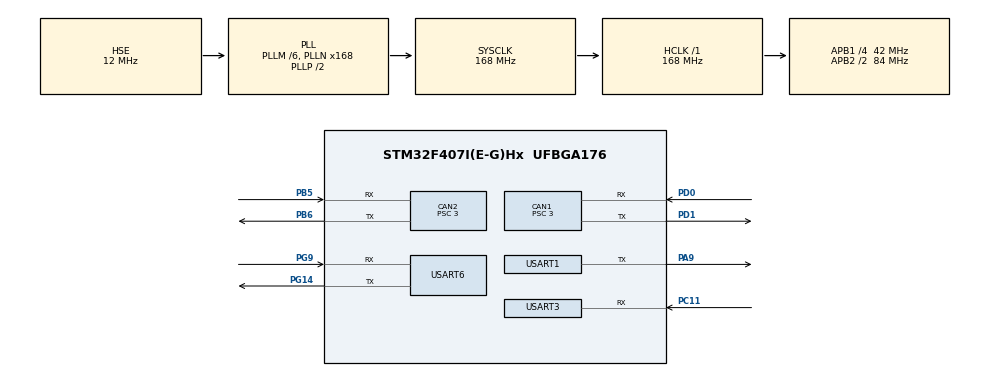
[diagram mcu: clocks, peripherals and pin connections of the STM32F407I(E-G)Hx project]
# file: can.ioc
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CAN1.BS1=CAN_BS1_10TQ
CAN1.BS2=CAN_BS2_3TQ
CAN1.CalculateTimeQuantum=71.42857142857143
CAN1.Prescaler=3
CAN2.BS1=CAN_BS1_10TQ
CAN2.BS2=CAN_BS2_3TQ
CAN2.CalculateTimeQuantum=71.42857142857143
CAN2.Prescaler=3
FREERTOS.Tasks01=defaultTask,24,128,StartDefaultTask,Default,NULL,Dynamic,NULL,NULL;motor_task,27,128,motorstart_task,As external,NULL,Dynamic,NULL,NULL
Mcu.Family=STM32F4
Mcu.Name=STM32F407I(E-G)Hx
Mcu.Package=UFBGA176
PA9.Mode=Asynchronous
PA9.Signal=USART1_TX
PC11.Mode=Asynchronous
PC11.Signal=USART3_RX
NVIC.CAN1_RX0_IRQn=true\:5\:0\:false\:false\:true\:true\:true\:true\:true
NVIC.CAN1_TX_IRQn=true\:5\:0\:false\:false\:true\:true\:true\:true\:true
NVIC.CAN2_RX0_IRQn=true\:5\:0\:false\:false\:true\:true\:true\:true\:true
NVIC.CAN2_TX_IRQn=true\:5\:0\:false\:false\:true\:true\:true\:true\:true
NVIC.PriorityGroup=NVIC_PRIORITYGROUP_4
NVIC.TIM3_IRQn=true\:0\:0\:false\:false\:true\:false\:false\:true\:true
NVIC.TimeBase=TIM3_IRQn
NVIC.TimeBaseIP=TIM3
NVIC.USART6_IRQn=true\:5\:0\:false\:false\:true\:true\:true\:true\:true
NVIC.USART3_IRQn=true\:6\:0\:false\:false\:false\:true\:true
PA13.Mode=Serial_Wire
PA13.Signal=SYS_JTMS-SWDIO
PA14.Mode=Serial_Wire
PA14.Signal=SYS_JTCK-SWCLK
PB5.Mode=Slave
PB5.Signal=CAN2_RX
PB6.Mode=Slave
PB6.Signal=CAN2_TX
PD0.Mode=Master
PD0.Signal=CAN1_RX
PD1.Mode=Master
PD1.Signal=CAN1_TX
PG14.Mode=Asynchronous
PG14.Signal=USART6_TX
PG9.Mode=Asynchronous
PG9.Signal=USART6_RX
PH0-OSC_IN.Mode=HSE-External-Oscillator
PH0-OSC_IN.Signal=RCC_OSC_IN
PH1-OSC_OUT.Mode=HSE-External-Oscillator
PH1-OSC_OUT.Signal=RCC_OSC_OUT
ProjectManager.HeapSize=0x200
ProjectManager.StackSize=0x400
ProjectManager.TargetToolchain=MDK-ARM V5
RCC.48MHZClocksFreq_Value=84000000
RCC.AHBFreq_Value=168000000
RCC.APB1CLKDivider=RCC_HCLK_DIV4
RCC.APB1Freq_Value=42000000
RCC.APB1TimFreq_Value=84000000
RCC.APB2CLKDivider=RCC_HCLK_DIV2
RCC.APB2Freq_Value=84000000
RCC.APB2TimFreq_Value=168000000
RCC.CortexFreq_Value=168000000
RCC.HCLKFreq_Value=168000000
RCC.HSE_VALUE=12000000
RCC.HSI_VALUE=16000000
RCC.LSE_VALUE=32768
RCC.PLLM=6
RCC.PLLN=168
RCC.PLLSourceVirtual=RCC_PLLSOURCE_HSE
RCC.SYSCLKFreq_VALUE=168000000
RCC.SYSCLKSource=RCC_SYSCLKSOURCE_PLLCLK
RCC.VCOOutputFreq_Value=336000000
USART6.VirtualMode=VM_ASYNC
Dma.Request0=USART3_RX
Dma.USART3_RX.0.Direction=DMA_PERIPH_TO_MEMORY
Dma.USART3_RX.0.FIFOMode=DMA_FIFOMODE_DISABLE
Dma.USART3_RX.0.Instance=DMA1_Stream1
Dma.USART3_RX.0.MemDataAlignment=DMA_MDATAALIGN_BYTE
Dma.USART3_RX.0.MemInc=DMA_MINC_ENABLE
Dma.USART3_RX.0.Mode=DMA_CIRCULAR
Dma.USART3_RX.0.PeriphDataAlignment=DMA_PDATAALIGN_BYTE
Dma.USART3_RX.0.PeriphInc=DMA_PINC_DISABLE
Dma.USART3_RX.0.Priority=DMA_PRIORITY_VERY_HIGH
USART1.BaudRate=115200
USART1.Mode=MODE_TX
USART1.VirtualMode=VM_ASYNC
USART3.BaudRate=100000
USART3.Mode=MODE_RX
USART3.Parity=PARITY_EVEN
USART3.WordLength=WORDLENGTH_9B
USART3.VirtualMode=VM_ASYNC
VP_FREERTOS_VS_CMSIS_V2.Mode=CMSIS_V2
VP_SYS_VS_tim3.Mode=TIM3
board=custom

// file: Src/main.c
/* USER CODE BEGIN Header */
/**
  ******************************************************************************
  * @file           : main.c
  * @brief          : Main program body
  ******************************************************************************
  * @attention
  *
  * <h2><center>&copy; Copyright (c) 2019 STMicroelectronics.
  * All rights reserved.</center></h2>
  *
  * This software component is licensed by ST under BSD 3-Clause license,
  * the "License"; You may not use this file except in compliance with the
  * License. You may obtain a copy of the License at:
  *                        opensource.org/licenses/BSD-3-Clause
  *
  ******************************************************************************
  */
/* USER CODE END Header */

#include "main.h"
#include "dma.h"
#include "cmsis_os.h"
#include "can.h"
#include "usart.h"
#include "gpio.h"

/* USER CODE BEGIN Includes */
#include "bsp_can.h"
/* USER CODE END Includes */

/* USER CODE BEGIN PV */
// uint32_t send_mail_box;

/* USER CODE END PV */

void SystemClock_Config(void);
void MX_FREERTOS_Init(void);

int main(void)
{

  /* MCU Configuration--------------------------------------------------------*/

  /* Reset of all peripherals, Initializes the Flash interface and the Systick. */
   HAL_Init();

  /* Configure the system clock */
  SystemClock_Config();

  /* Initialize all configured peripherals */
  MX_GPIO_Init();
  MX_DMA_Init();
  MX_CAN1_Init();
  MX_CAN2_Init();
  MX_USART6_UART_Init();
  MX_USART1_UART_Init();
  MX_USART3_UART_Init();
  /* USER CODE BEGIN 2 */
	can_filter_init();
  /* USER CODE END 2 */

  /* Call init function for freertos objects (in freertos.c) */
  MX_FREERTOS_Init();

  /* Start scheduler */
  osKernelStart();

  /* We should never get here as control is now taken by the scheduler */

  /* Infinite loop */
  while (1)
  {

  }
}

void SystemClock_Config(void)
{
  RCC_OscInitTypeDef RCC_OscInitStruct = {0};
  RCC_ClkInitTypeDef RCC_ClkInitStruct = {0};

  /** Configure the main internal regulator output voltage
  */
  __HAL_RCC_PWR_CLK_ENABLE();
  __HAL_PWR_VOLTAGESCALING_CONFIG(PWR_REGULATOR_VOLTAGE_SCALE1);
  /** Initializes the CPU, AHB and APB busses clocks
  */
  RCC_OscInitStruct.OscillatorType = RCC_OSCILLATORTYPE_HSE;
  RCC_OscInitStruct.HSEState = RCC_HSE_ON;
  RCC_OscInitStruct.PLL.PLLState = RCC_PLL_ON;
  RCC_OscInitStruct.PLL.PLLSource = RCC_PLLSOURCE_HSE;
  RCC_OscInitStruct.PLL.PLLM = 6;
  RCC_OscInitStruct.PLL.PLLN = 168;
  RCC_OscInitStruct.PLL.PLLP = RCC_PLLP_DIV2;
  RCC_OscInitStruct.PLL.PLLQ = 4;
  if (HAL_RCC_OscConfig(&RCC_OscInitStruct) != HAL_OK)
  {
    Error_Handler();
  }
  /** Initializes the CPU, AHB and APB busses clocks
  */
  RCC_ClkInitStruct.ClockType = RCC_CLOCKTYPE_HCLK|RCC_CLOCKTYPE_SYSCLK
                              |RCC_CLOCKTYPE_PCLK1|RCC_CLOCKTYPE_PCLK2;
  RCC_ClkInitStruct.SYSCLKSource = RCC_SYSCLKSOURCE_PLLCLK;
  RCC_ClkInitStruct.AHBCLKDivider = RCC_SYSCLK_DIV1;
  RCC_ClkInitStruct.APB1CLKDivider = RCC_HCLK_DIV4;
  RCC_ClkInitStruct.APB2CLKDivider = RCC_HCLK_DIV2;

  if (HAL_RCC_ClockConfig(&RCC_ClkInitStruct, FLASH_LATENCY_5) != HAL_OK)
  {
    Error_Handler();
  }
}

void HAL_TIM_PeriodElapsedCallback(TIM_HandleTypeDef *htim)
{
  if (htim->Instance == TIM3) {
    HAL_IncTick();
  }
}

void Error_Handler(void)
{
}

/************************ (C) COPYRIGHT STMicroelectronics *****END OF FILE****/

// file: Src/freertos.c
/* USER CODE BEGIN Header */
/**
  ******************************************************************************
  * File Name          : freertos.c
  * Description        : Code for freertos applications
  ******************************************************************************
  * @attention
  *
  * <h2><center>&copy; Copyright (c) 2026 STMicroelectronics.
  * All rights reserved.</center></h2>
  *
  * This software component is licensed by ST under Ultimate Liberty license
  * SLA0044, the "License"; You may not use this file except in compliance with
  * the License. You may obtain a copy of the License at:
  *                             www.st.com/SLA0044
  *
  ******************************************************************************
  */
/* USER CODE END Header */

#include "FreeRTOS.h"
#include "task.h"
#include "main.h"
#include "cmsis_os.h"

/* USER CODE BEGIN Includes */
#include "CAN_receive.h"
#include "dm4310.h"
#include "referee.h"
#include "usart.h"

/* USER CODE END Includes */

/* USER CODE BEGIN PD */
#define ANGLE_SEND_PERIOD_MS 20U
#define RAD_TO_DEG 57.29577951308232f
/* Set these to the actual M2006 rotor-to-joint ratios for joint angles. */
#define M2006_RATIO_1 1.0f
#define M2006_RATIO_2 1.0f
#define M2006_RATIO_3 1.0f
float angles[6];

/* USER CODE END PD */

osThreadId_t defaultTaskHandle;
osThreadId_t motor_taskHandle;

/* USER CODE BEGIN FunctionPrototypes */
static uint8_t angle_get_feedback(float angles[6]);

/* USER CODE END FunctionPrototypes */

void StartDefaultTask(void *argument); // for v2
extern void motorstart_task(void *argument); // for v2

void MX_FREERTOS_Init(void); /* (MISRA C 2004 rule 8.1) */

void MX_FREERTOS_Init(void) {
osKernelInitialize(); // Initialize CMSIS-RTOS

  /* Create the thread(s) */
  /* definition and creation of defaultTask */
  const osThreadAttr_t defaultTask_attributes = {
    .name = "defaultTask",
    .priority = (osPriority_t) osPriorityNormal,
    .stack_size = 1024
  };
  defaultTaskHandle = osThreadNew(StartDefaultTask, NULL, &defaultTask_attributes);

  /* definition and creation of motor_task */
  const osThreadAttr_t motor_task_attributes = {
    .name = "motor_task",
    .priority = (osPriority_t) osPriorityNormal3,
    .stack_size = 1024
  };
  motor_taskHandle = osThreadNew(motorstart_task, NULL, &motor_task_attributes);

}

void StartDefaultTask(void *argument)
{

  /* USER CODE BEGIN StartDefaultTask */
  uint32_t next_wake;
  (void)argument;

  init_controller_data();
  next_wake = osKernelGetTickCount();
  for(;;)
  {
    if (angle_get_feedback(angles) != 0U)
    {
      fresh_mt(angles, 0U);
      (void)HAL_UART_Transmit(&huart6, self_controller_data.data,
                              sizeof(self_controller_data_t), 100U);
    }
    next_wake += ANGLE_SEND_PERIOD_MS;
    (void)osDelayUntil(next_wake);
  }
  /* USER CODE END StartDefaultTask */
}

/* USER CODE BEGIN Application */
void vApplicationStackOverflowHook(TaskHandle_t task, char *task_name)
{
  (void)task;
  (void)task_name;
  taskDISABLE_INTERRUPTS();
  for (;;) { }
}

/* Frame order: M2006 IDs 0x201..0x203, then DM4310 IDs 1..3. */
static uint8_t angle_get_feedback(float angles[6])
{
  static const float ratio[3] = {M2006_RATIO_1, M2006_RATIO_2, M2006_RATIO_3};
  uint8_t i;
  uint32_t primask;
  const volatile dm4310_feedback_t *feedback;

  for (i = 0U; i < M2006_MOTOR_COUNT; ++i)
  {
    if (get_2006_motor_relative_angle_deg(i, ratio[i], &angles[i]) == 0U)
    {
      return 0U;
    }
  }

  for (i = 0U; i < DM4310_MOTOR_COUNT; ++i)
  {
    feedback = get_dm4310_feedback_point((uint8_t)(DM4310_MOTOR1_ID + i));//接口函数的作用
    primask = __get_PRIMASK();
    __disable_irq();
    if (feedback->rx_count == 0U)
    {
      __set_PRIMASK(primask);
      return 0U;
    }
    angles[M2006_MOTOR_COUNT + i] = feedback->position_rad;
    __set_PRIMASK(primask);
    angles[M2006_MOTOR_COUNT + i] *= RAD_TO_DEG;
  }

  return 1U;
}

/* USER CODE END Application */

/************************ (C) COPYRIGHT STMicroelectronics *****END OF FILE****/
